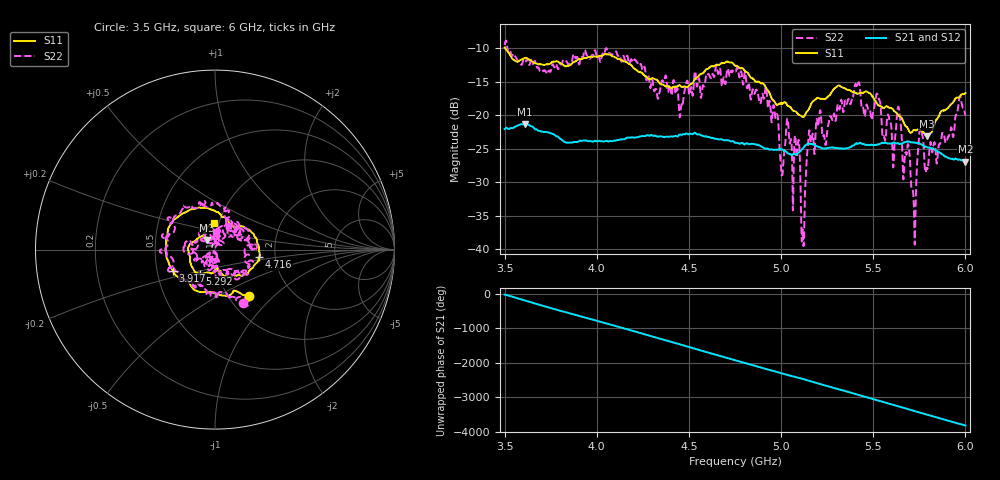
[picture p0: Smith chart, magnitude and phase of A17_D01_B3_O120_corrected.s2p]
! Created with skrf 1.9.0 (http://scikit-rf.org).
# Hz S RI R 50.0
!freq ReS11 ImS11 ReS21 ImS21 ReS12 ImS12 ReS22 ImS22
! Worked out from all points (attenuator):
!   1601 points, 3.5 GHz to 6 GHz, reference 50 ohm
!   highest |S21| = -21.30 dB at 3.609 GHz (marker M1); lowest = -26.9 dB at 6 GHz (marker M2)
!   lowest |S11| = -23.1 dB at 5.791 GHz (marker M3), VSWR 1.15, Z = 45.5 + j4.92 ohm
!   |S11| at or under -10 dB: 3.503 GHz to end of sweep
!   |S22| runs from -39.6 to -8.8 dB; largest |S21 - S12| = 0.0012
!   S11 on the Smith chart (normalised r, x): 3.5 GHz: 1.25, -0.71; 3.917 GHz: 0.61, -0.15; 4.716 GHz: 1.64, -0.15; 5.292 GHz: 0.82, -0.23; 6 GHz: 0.95, +0.28
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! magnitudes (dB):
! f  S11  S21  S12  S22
! 3.5 GHz  -9.9  -22.1  -22.0  -9.5
! 3.609 GHz  -11.4  -21.3  -21.3  -11.9
! 3.917 GHz  -11.6  -23.8  -23.8  -11.3
! 4.334 GHz  -14.9  -23.2  -23.1  -17.3
! 4.716 GHz  -12.1  -23.8  -23.8  -13.6
! 4.75 GHz  -12.6  -24.1  -24.1  -13.4
! 4.969 GHz  -18.2  -25.1  -25.1  -20.4
! 5.005 GHz  -18.2  -25.1  -25.1  -28.9
! 5.033 GHz  -18.4  -25.6  -25.6  -20.6
! 5.088 GHz  -19.7  -25.7  -25.7  -25.8
! 5.119 GHz  -20.2  -24.9  -24.9  -37.7
! 5.145 GHz  -19.3  -24.3  -24.3  -24.4
! 5.167 GHz  -18.1  -24.3  -24.3  -23.3
! 5.292 GHz  -15.9  -24.9  -24.9  -20.5
! 5.412 GHz  -16.8  -24.2  -24.2  -15.8
! 5.584 GHz  -18.9  -24.2  -24.2  -20.2
! 5.611 GHz  -19.3  -24.1  -24.0  -27.3
! 5.641 GHz  -20.1  -24.3  -24.2  -19.3
! 5.719 GHz  -22.2  -24.1  -24.0  -32.6
! 5.756 GHz  -22.2  -24.3  -24.2  -22.3
! 5.791 GHz  -23.1  -24.8  -24.7  -27.9
! 6 GHz  -16.7  -26.9  -26.9  -20.1
